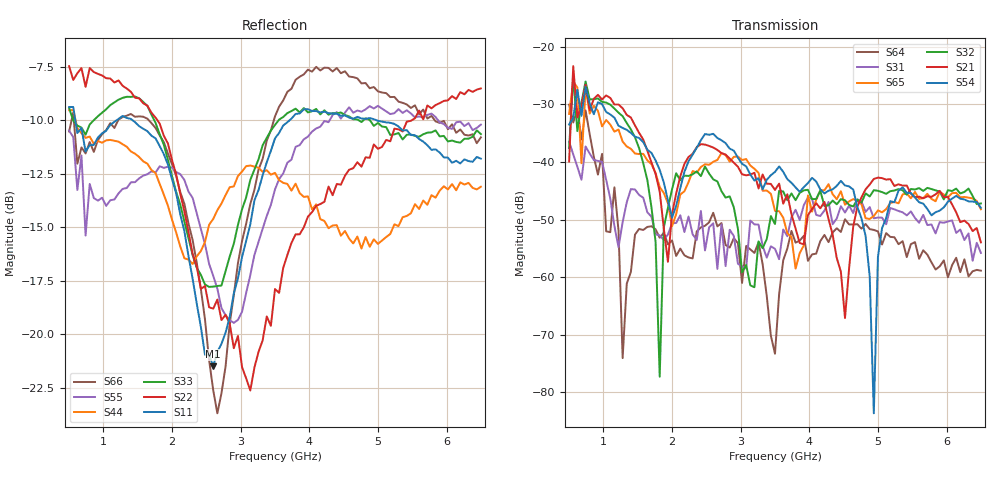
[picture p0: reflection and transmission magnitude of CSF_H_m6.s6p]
!Keysight Technologies,M9804A,MY58100912,A.14.10.03
!Date: Thursday, April 27, 2023 10:28:33
!Correction: S11(C  6-Port  )
!S12(C  6-Port  )
!S13(C  6-Port  )
!S14(C  6-Port  )
!S15(C  6-Port  )
!S16(C  6-Port  )
!S21(C  6-Port  )
!S22(C  6-Port  )
!S23(C  6-Port  )
!S24(C  6-Port  )
!S25(C  6-Port  )
!S26(C  6-Port  )
!S31(C  6-Port  )
!S32(C  6-Port  )
!S33(C  6-Port  )
!S34(C  6-Port  )
!S35(C  6-Port  )
!S36(C  6-Port  )
!S41(C  6-Port  )
!S42(C  6-Port  )
!S43(C  6-Port  )
!S44(C  6-Port  )
!S45(C  6-Port  )
!S46(C  6-Port  )
!S51(C  6-Port  )
!S52(C  6-Port  )
!S53(C  6-Port  )
!S54(C  6-Port  )
!S55(C  6-Port  )
!S56(C  6-Port  )
!S61(C  6-Port  )
!S62(C  6-Port  )
!S63(C  6-Port  )
!S64(C  6-Port  )
!S65(C  6-Port  )
!S66(C  6-Port  )
!S6P File: Measurement: :
# Hz S  RI  R 50
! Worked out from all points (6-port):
!   101 points, 500 MHz to 6.5 GHz, reference 50 ohm
!   strongest paths, dB at 500 MHz, 2 GHz, 3.5 GHz, 5 GHz, 6.5 GHz:
!     S54: -33.5, -49.7, -41.7, -56.5, -48.0
!     S21: -39.9, -49.0, -44.9, -42.7, -54.0
!     S32: -37.6, -44.7, -50.8, -45.0, -47.2
!     S65: -31.7, -51.2, -48.5, -48.4, -48.2
!     S31: -36.5, -50.7, -55.1, -49.7, -55.8
!     S64: -30.1, -53.6, -73.3, -52.1, -58.9
!   lowest |S11| = -21.5 dB at 2.6 GHz (marker M1), VSWR 1.18, Z = 42.5 + j2.19 ohm
!   |S11| at or under -10 dB: 590.3 MHz to 1.194 GHz (603.8 MHz wide, 67.7 % of centre); 1.423 GHz to 3.715 GHz (2.292 GHz wide, 89.2 % of centre); 4.975 GHz to end of sweep
